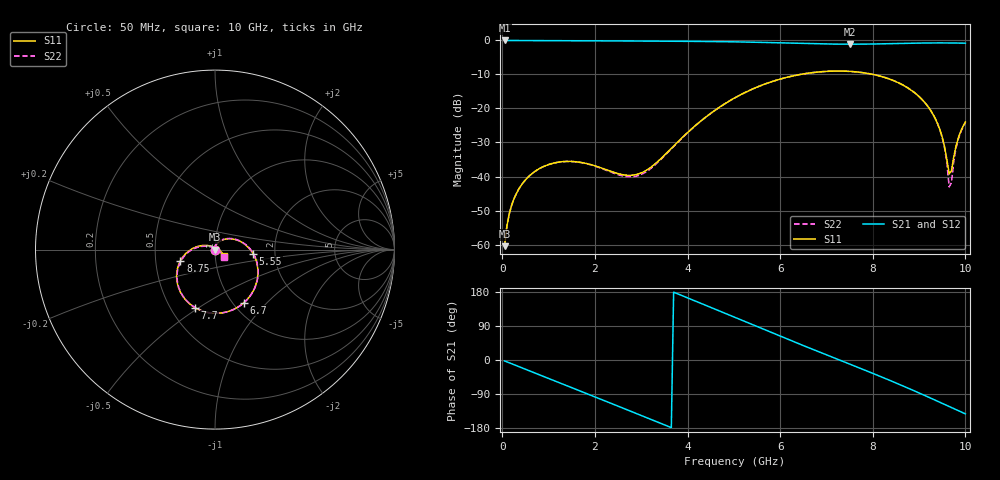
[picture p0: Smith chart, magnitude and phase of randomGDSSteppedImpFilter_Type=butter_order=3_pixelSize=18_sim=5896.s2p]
! freq	dB(S11)	phase(S11)	dB(S12)	phase(S12)
!  dB(S21)	phase(S21)	dB(S22)	phase(S22)
!S-par simulation data
#  GHz  S  DB  R 50
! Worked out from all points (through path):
!   200 points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, 50 MHz to 10 GHz, reference 50 ohm
!   highest |S21| = 0.00 dB at 50 MHz (marker M1); lowest = -1.1 dB at 7.5 GHz (marker M2)
!   group delay of S21, straight-line fit = 139 ps
!   lowest |S11| = -60.5 dB at 50 MHz (marker M3), VSWR 1.00, Z = 50 - j0.0946 ohm
!   |S11| at or under -10 dB: start of sweep to 6.435 GHz; 8.009 GHz to end of sweep
!   |S22| runs from -60.5 to -9.0 dB; largest |S21 - S12| = 0
!   S11 on the Smith chart (normalised r, x): 50 MHz: 1.00, -0.00; 5.55 GHz: 1.53, -0.07; 6.7 GHz: 1.12, -0.75; 7.7 GHz: 0.66, -0.48; 8.75 GHz: 0.67, -0.09; 10 GHz: 1.11, -0.08
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0.05  -60.48 -88.3  -0.00 -2.5  -0.00 -2.5  -60.47 -88.3
0.1  -54.49 -93.0  -0.01 -5.0  -0.01 -5.0  -54.49 -93.0
0.2  -48.53 -99.3  -0.02 -9.8  -0.02 -9.8  -48.53 -99.1
0.55  -40.27 -118.1  -0.04 -26.8  -0.04 -26.8  -40.27 -117.7
1.1  -36.08 -147.2  -0.06 -53.5  -0.06 -53.5  -36.09 -146.2
1.75  -35.98 176.1  -0.10 -85.1  -0.10 -85.1  -36.02 178.5
2.8  -39.63 106.8  -0.16 -136.5  -0.16 -136.5  -40.08 114.3
3.4  -35.06 85.3  -0.20 -166.1  -0.20 -166.1  -35.30 91.2
4.2  -24.67 57.0  -0.28 154.0  -0.28 154.0  -24.70 59.3
5.05  -16.65 18.2  -0.42 111.1  -0.42 111.1  -16.66 19.3
5.55  -13.44 -5.9  -0.56 85.7  -0.56 85.7  -13.45 -5.1
6.7  -9.46 -61.5  -0.97 28.3  -0.97 28.3  -9.46 -60.9
7.5  -9.09 -99.6  -1.11 -10.6  -1.11 -10.6  -9.09 -99.0
7.7  -9.33 -109.2  -1.10 -20.4  -1.10 -20.4  -9.33 -108.6
8.35  -11.29 -141.3  -0.96 -52.8  -0.96 -52.8  -11.29 -140.5
8.75  -13.89 -162.2  -0.84 -73.6  -0.84 -73.6  -13.89 -161.0
9.4  -24.48 157.0  -0.72 -108.8  -0.72 -108.8  -24.51 161.5
9.55  -31.26 137.1  -0.73 -117.1  -0.73 -117.1  -31.56 147.0
9.65  -39.24 84.3  -0.74 -122.7  -0.74 -122.7  -43.09 101.7
9.7  -38.32 28.7  -0.74 -125.5  -0.74 -125.5  -41.75 14.1
9.8  -30.93 -13.2  -0.76 -131.0  -0.76 -131.0  -31.51 -22.3
10  -23.97 -34.9  -0.80 -142.2  -0.80 -142.2  -24.13 -39.1
